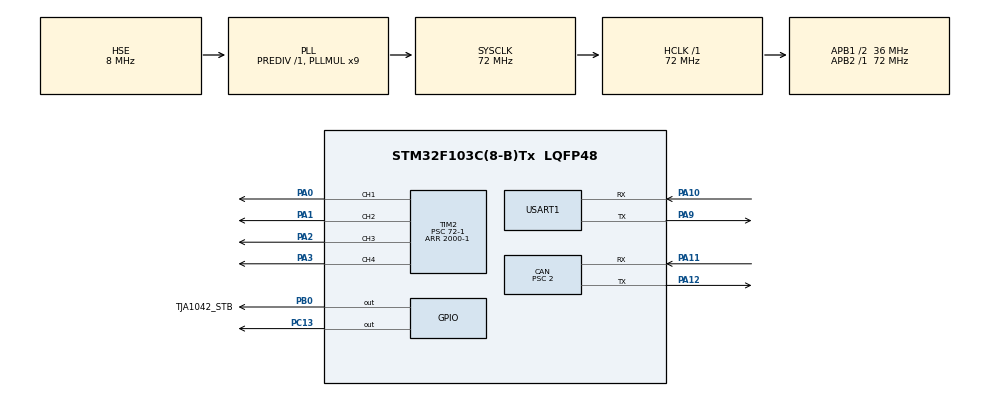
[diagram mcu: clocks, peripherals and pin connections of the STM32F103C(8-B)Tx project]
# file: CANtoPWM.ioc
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CAN.ABOM=ENABLE
CAN.BS1=CAN_BS1_11TQ
CAN.BS2=CAN_BS2_6TQ
CAN.CalculateBaudRate=1000000
CAN.CalculateTimeBit=1000
CAN.CalculateTimeQuantum=55.55555555555556
CAN.NART=ENABLE
CAN.Prescaler=2
Mcu.Family=STM32F1
Mcu.Name=STM32F103C(8-B)Tx
Mcu.Package=LQFP48
NVIC.PriorityGroup=NVIC_PRIORITYGROUP_4
NVIC.USB_LP_CAN1_RX0_IRQn=true\:0\:0\:false\:false\:true\:true\:true\:true
PA0-WKUP.Signal=S_TIM2_CH1_ETR
PA1.Signal=S_TIM2_CH2
PA10.Mode=Asynchronous
PA10.Signal=USART1_RX
PA11.Mode=CAN_Activate
PA11.Signal=CAN_RX
PA12.Mode=CAN_Activate
PA12.Signal=CAN_TX
PA2.Signal=S_TIM2_CH3
PA3.Signal=S_TIM2_CH4
PA9.Mode=Asynchronous
PA9.Signal=USART1_TX
PB0.GPIO_Label=TJA1042_STB
PB0.Signal=GPIO_Output
PC13-TAMPER-RTC.Signal=GPIO_Output
PD0-OSC_IN.Mode=HSE-External-Oscillator
PD0-OSC_IN.Signal=RCC_OSC_IN
PD1-OSC_OUT.Mode=HSE-External-Oscillator
PD1-OSC_OUT.Signal=RCC_OSC_OUT
ProjectManager.HeapSize=0x200
ProjectManager.StackSize=0x1000
ProjectManager.TargetToolchain=MDK-ARM V5.32
RCC.AHBFreq_Value=72000000
RCC.APB1CLKDivider=RCC_HCLK_DIV2
RCC.APB1Freq_Value=36000000
RCC.APB1TimFreq_Value=72000000
RCC.APB2Freq_Value=72000000
RCC.APB2TimFreq_Value=72000000
RCC.HCLKFreq_Value=72000000
RCC.PLLMUL=RCC_PLL_MUL9
RCC.PLLSourceVirtual=RCC_PLLSOURCE_HSE
RCC.SYSCLKFreq_VALUE=72000000
RCC.SYSCLKSource=RCC_SYSCLKSOURCE_PLLCLK
RCC.USBFreq_Value=72000000
SH.S_TIM2_CH1_ETR.0=TIM2_CH1,PWM Generation1 CH1
SH.S_TIM2_CH2.0=TIM2_CH2,PWM Generation2 CH2
SH.S_TIM2_CH3.0=TIM2_CH3,PWM Generation3 CH3
SH.S_TIM2_CH4.0=TIM2_CH4,PWM Generation4 CH4
TIM2.Channel-PWM\ Generation1\ CH1=TIM_CHANNEL_1
TIM2.Channel-PWM\ Generation2\ CH2=TIM_CHANNEL_2
TIM2.Channel-PWM\ Generation3\ CH3=TIM_CHANNEL_3
TIM2.Channel-PWM\ Generation4\ CH4=TIM_CHANNEL_4
TIM2.Period=2000-1
TIM2.Prescaler=72-1
TIM2.Pulse-PWM\ Generation1\ CH1=1000-1
TIM2.Pulse-PWM\ Generation2\ CH2=1000-1
TIM2.Pulse-PWM\ Generation3\ CH3=1000-1
TIM2.Pulse-PWM\ Generation4\ CH4=1000-1
USART1.VirtualMode=VM_ASYNC
VP_SYS_VS_ND.Mode=No_Debug
VP_TIM2_VS_ClockSourceINT.Mode=Internal
board=custom

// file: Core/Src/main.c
/* USER CODE BEGIN Header */
/**
  ******************************************************************************
  * @file           : main.c
  * @brief          : Main program body
  ******************************************************************************
  * @attention
  *
  * Copyright (c) 2025 STMicroelectronics.
  * All rights reserved.
  *
  * This software is licensed under terms that can be found in the LICENSE file
  * in the root directory of this software component.
  * If no LICENSE file comes with this software, it is provided AS-IS.
  *
  ******************************************************************************
  */
#pragma anon_unions
/* USER CODE END Header */
#include "main.h"
#include "can.h"
#include "tim.h"
#include "usart.h"
#include "gpio.h"

/* USER CODE BEGIN Includes */
#include "string.h"
#include "canard.h"
#include "canard_internals.h"
#include "uavcan/equipment/actuator/ArrayCommand.h"
#include "uavcan/equipment/esc/RawCommand.h"
#include "uavcan/protocol/NodeStatus.h"
#include "uavcan/protocol/GetNodeInfo.h"
#include "uavcan/protocol/param/GetSet.h"
#include "uavcan/protocol/param/ExecuteOpcode.h"
#include "uavcan/protocol/RestartNode.h"
#include "uavcan/protocol/GetTransportStats.h"
#include "uavcan/protocol/file/BeginFirmwareUpdate.h"
#include <stdio.h>
#include "canard_dynamic_node_id_client.h"
#include "app_logic.h"
/* USER CODE END Includes */

/* USER CODE BEGIN PTD */
// 函数声明
bool shouldAcceptTransfer(const CanardInstance* ins,
                         uint64_t* out_data_type_signature,
                         uint16_t data_type_id,
                         CanardTransferType transfer_type,
                         uint8_t source_node_id);
void onTransferReception(CanardInstance* ins, CanardRxTransfer* transfer);
void processCanTxQueue(void);
int16_t sendActuatorCommand(CanardInstance* ins, uint8_t actuator_id, float value);
int16_t sendNodeStatusRequest(CanardInstance* ins, uint8_t target_node_id);
void publishNodeStatus(void);
/* USER CODE END PTD */

/* USER CODE BEGIN PM */

#define BOOTLOADER_FLAG_MAGIC 0xB007B007u
#define BOOTLOADER_FLAG_REG   (BKP->DR1)
/* USER CODE END PM */

/* USER CODE BEGIN PV */
// CANARD
CanardInstance canard_ins;
uint8_t canard_memory_pool[4096]; //内存池

// Dynamic Node ID client
CanardDynIDClient dynid_client;
uint8_t node_unique_id[16];

//传输ID计数器
static uint8_t actuator_cmd_transfer_id = 0;

//接受到的数据储存
static uavcan_equipment_actuator_ArrayCommand rx_actuator_cmd;

// 参数存储 (演示用)
float tim2_ticks_per_us = 1.0f; // updated at init to scale 1-2ms to CCR
static bool dyn_allocation_active = false;
static uint32_t dyn_last_req_ms = 0;
static bool dyn_followup_pending = false; // schedule immediate follow-up chunk after allocator echo
static uint32_t dyn_followup_deadline_ms = 0;
static bool bootloader_update_requested = false;
static volatile uint32_t can_rx_irq_count = 0;
/* USER CODE END PV */

void SystemClock_Config(void);
/* USER CODE BEGIN PFP */
void read_unique_id(uint8_t* out_uid);
static void update_tim2_tick_scale(void);
static void start_dynamic_allocation(void);
static void set_bootloader_flag(void);
static void handleBeginFirmwareUpdate(CanardInstance* ins, CanardRxTransfer* transfer);
static void boot_led_flash(void);
static bool wait_mailbox_result(uint32_t mailbox, uint32_t timeout_ms, bool* out_txok, uint32_t* out_tsr_snapshot);
/* USER CODE END PFP */

/* USER CODE BEGIN 0 */
#ifdef __GNUC__
  /* With GCC/RAISONANCE, small printf (option LD Linker->Libraries->Small printf
     set to 'Yes') calls __io_putchar() */
  #define PUTCHAR_PROTOTYPE int __io_putchar(int ch)
#else
  #define PUTCHAR_PROTOTYPE int fputc(int ch, FILE *f)
#endif /* __GNUC__ */

/**
  * @brief  Retargets the C library printf function to the USART.
  * @param  None
  * @retval None
  */
PUTCHAR_PROTOTYPE
{
  /* Place your implementation of fputc here */
  /* e.g. write a character to the USART1 and Loop until the end of transmission */
  HAL_UART_Transmit(&huart1, (uint8_t *)&ch, 1, 0xFFFF);

  return ch;
}

void read_unique_id(uint8_t* out_uid)
{
    // STM32F1xx series has a 96-bit unique ID starting at this address
    const uint32_t* uid_reg = (const uint32_t*)0x1FFFF7E8;
    uint8_t uid_buf[12];
    for (uint8_t i = 0; i < 3; i++)
    {
        uint32_t word = uid_reg[i];
        uid_buf[i*4 + 0] = (word >> 0) & 0xFF;
        uid_buf[i*4 + 1] = (word >> 8) & 0xFF;
        uid_buf[i*4 + 2] = (word >> 16) & 0xFF;
        uid_buf[i*4 + 3] = (word >> 24) & 0xFF;
    }
    // The unique ID for allocation is 16 bytes, we pad the 12-byte MCU ID with zeros
    memset(out_uid, 0, 16);
    memcpy(out_uid, uid_buf, 12);
}

static void set_bootloader_flag(void)
{
    __HAL_RCC_BKP_CLK_ENABLE();
    HAL_PWR_EnableBkUpAccess();
    BOOTLOADER_FLAG_REG = BOOTLOADER_FLAG_MAGIC;
    HAL_PWR_DisableBkUpAccess();
}

static void handleBeginFirmwareUpdate(CanardInstance* ins, CanardRxTransfer* transfer)
{
    static uavcan_protocol_file_BeginFirmwareUpdateRequest req;
    static uint8_t path_buf[UAVCAN_PROTOCOL_FILE_PATH_PATH_MAX_LENGTH];
    uint8_t* dyn_buf = path_buf;
    memset(&req, 0, sizeof(req));
    int32_t dec = uavcan_protocol_file_BeginFirmwareUpdateRequest_decode(
        transfer, transfer->payload_len, &req, &dyn_buf);

    uavcan_protocol_file_BeginFirmwareUpdateResponse resp;
    memset(&resp, 0, sizeof(resp));
    resp.error = UAVCAN_PROTOCOL_FILE_BEGINFIRMWAREUPDATE_RESPONSE_ERROR_OK;

    static uint8_t buffer[UAVCAN_PROTOCOL_FILE_BEGINFIRMWAREUPDATE_RESPONSE_MAX_SIZE];
    uint32_t len = uavcan_protocol_file_BeginFirmwareUpdateResponse_encode(&resp, buffer);
    (void)canardRequestOrRespond(ins, transfer->source_node_id,
                                 UAVCAN_PROTOCOL_FILE_BEGINFIRMWAREUPDATE_SIGNATURE,
                                 UAVCAN_PROTOCOL_FILE_BEGINFIRMWAREUPDATE_ID,
                                 &transfer->transfer_id,
                                 transfer->priority,
                                 CanardResponse,
                                 buffer,
                                 len);

    if (dec >= 0) {
        bootloader_update_requested = true;
        restart_pending = true;
        restart_request_time_ms = HAL_GetTick();
        printf("[FWU] BeginFirmwareUpdate accepted\r\n");
    } else {
        printf("[FWU] Decode fail: %ld\r\n", (long)dec);
    }
}

// Fast LED blink on boot to indicate firmware ready state
static void boot_led_flash(void)
{
    for (int i = 0; i < 6; i++) {
        HAL_GPIO_TogglePin(GPIOC, GPIO_PIN_13);
        HAL_Delay(50);
    }
}

// --- 辅助工具：虚拟服务器实例 ---
// 用于生成正确的 CAN 帧（自动处理多帧、CRC、尾字节）
void inject_rx_frame_from_server(CanardInstance* server_ins, uint64_t timestamp_usec) {
    for (const CanardCANFrame* tx_frame = canardPeekTxQueue(server_ins);
         tx_frame != NULL;
         tx_frame = canardPeekTxQueue(server_ins))
    {
        // 将服务器发出的帧，注入到主实例的接收端
        canardHandleRxFrame(&canard_ins, tx_frame, timestamp_usec);
        // 从服务器队列移除
        canardPopTxQueue(server_ins);
    }
}

int main(void)
{

  /* USER CODE BEGIN 1 */
  uint16_t led_cnt = 0;

  /* USER CODE END 1 */

  /* MCU Configuration--------------------------------------------------------*/

  /* Reset of all peripherals, Initializes the Flash interface and the Systick. */
  HAL_Init();

  /* Configure the system clock */
  SystemClock_Config();

  /* Initialize all configured peripherals */
  MX_GPIO_Init();
  MX_CAN_Init();
  MX_TIM2_Init();
  MX_USART1_UART_Init();
  /* USER CODE BEGIN 2 */
  // 读取MCU唯一ID
  read_unique_id(node_unique_id);
  printf("UID: ");
  for(int i=0; i<16; i++) printf("%02X ", node_unique_id[i]);
  printf("\r\n");

  // 加载已保存的参数（若校验通过），否则保持默认值
  load_params_from_flash();

  // 启动TIM2的4个PWM通道
  HAL_TIM_PWM_Start(&htim2, TIM_CHANNEL_1);
  HAL_TIM_PWM_Start(&htim2, TIM_CHANNEL_2);
  HAL_TIM_PWM_Start(&htim2, TIM_CHANNEL_3);
  HAL_TIM_PWM_Start(&htim2, TIM_CHANNEL_4);

  // 根据当前 PCLK1/预分频计算 TIM2 每微秒的计数，确保无论周期如何调整都能输出 1-2ms 脉宽
  update_tim2_tick_scale();

    // 开机快速闪烁，提示固件已进入主程序
    boot_led_flash();

  // 初始化libcanard
  canardInit(&canard_ins,
             canard_memory_pool,
             sizeof(canard_memory_pool),
             onTransferReception,
             shouldAcceptTransfer,
             NULL);

  canardDynIDClientInit(&dynid_client, node_unique_id);
  uint8_t initial_node_id = (uint8_t)(params[0].value + 0.5f);
  if (initial_node_id == 0) {
      start_dynamic_allocation();
  } else {
      canardSetLocalNodeID(&canard_ins, initial_node_id);
  }

  // 初始化CAN过滤器（放宽，接收所有包）
  CAN_FilterTypeDef filter;
  filter.FilterBank = 0;
  filter.FilterMode = CAN_FILTERMODE_IDMASK;
  filter.FilterScale = CAN_FILTERSCALE_32BIT;
  filter.FilterIdHigh = 0x0000;
  filter.FilterIdLow = 0x0000;
  filter.FilterMaskIdHigh = 0x0000;
  filter.FilterMaskIdLow = 0x0000;
  filter.FilterFIFOAssignment = CAN_RX_FIFO0;
  filter.FilterActivation = ENABLE;
  filter.SlaveStartFilterBank = 14;
  HAL_CAN_ConfigFilter(&hcan, &filter);

  // 启动CAN
  HAL_CAN_Start(&hcan);
    HAL_CAN_ActivateNotification(&hcan,
                                                             CAN_IT_RX_FIFO0_MSG_PENDING |
                                                             CAN_IT_ERROR_WARNING |
                                                             CAN_IT_ERROR_PASSIVE |
                                                             CAN_IT_BUSOFF |
                                                             CAN_IT_LAST_ERROR_CODE);

  /* USER CODE END 2 */

  /* Infinite loop */
  /* USER CODE BEGIN WHILE */
  while (1)
  {
    // 固定ID模式：直接处理发送队列
    processCanTxQueue();

    // 如果有待应用的节点ID，移到主循环中执行，避免在服务传输过程中切换导致分片被拒绝
    if (pending_node_id >= 0 && pending_node_id <= CANARD_MAX_NODE_ID) {
        uint8_t new_id = (uint8_t)pending_node_id;
        if (new_id == 0) {
            start_dynamic_allocation();
        } else {
            dyn_allocation_active = false;
            canardSetLocalNodeID(&canard_ins, new_id);
        }
        params[0].value = (float)new_id;
        pending_node_id = -1;
        printf("[Param] Applied Node ID = %d\r\n", new_id);
    }

    if (dyn_allocation_active) {
        uint8_t allocated = canardDynIDClientGetNodeID(&dynid_client);
        if (allocated != 0 && allocated <= CANARD_MAX_NODE_ID) {
            canardSetLocalNodeID(&canard_ins, allocated);
            dyn_allocation_active = false;
            params[0].value = (float)allocated;
            printf("[DynID] Allocated Node ID = %d\r\n", allocated);
            dyn_followup_pending = false;
        } else if (dyn_followup_pending && HAL_GetTick() >= dyn_followup_deadline_ms && dynid_client.uid_prefix_len < sizeof(node_unique_id)) {
            (void)canardDynIDClientStart(&dynid_client, &canard_ins, 0);
            dyn_last_req_ms = HAL_GetTick();
            dyn_followup_pending = false;
        } else if (HAL_GetTick() - dyn_last_req_ms >= 1000 && dynid_client.uid_prefix_len < sizeof(node_unique_id)) {
            (void)canardDynIDClientStart(&dynid_client, &canard_ins, 0);
            dyn_last_req_ms = HAL_GetTick();
        }
    }

    // 发送心跳包 (1Hz)
    static uint32_t last_node_status_time = 0;
    if (HAL_GetTick() - last_node_status_time >= 1000)
    {
        publishNodeStatus();
        last_node_status_time = HAL_GetTick();
    }

    // 清理过期的传输
    uint64_t timestamp = HAL_GetTick() * 1000; // 转换为微秒
    canardCleanupStaleTransfers(&canard_ins, timestamp);

    // 每秒打印一次 RX 中断计数，快速判断是否有任何合法 CAN 帧进入 FIFO
    static uint32_t rx_mon_last_ms = 0;
    static uint32_t rx_mon_last_cnt = 0;
    if (HAL_GetTick() - rx_mon_last_ms >= 1000U) {
        uint32_t now_cnt = can_rx_irq_count;
        uint32_t delta = now_cnt - rx_mon_last_cnt;
        printf("[CAN RX] irq/s=%lu total=%lu\r\n",
               (unsigned long)delta,
               (unsigned long)now_cnt);
        rx_mon_last_cnt = now_cnt;
        rx_mon_last_ms = HAL_GetTick();
    }

    // 如收到 RestartNode 请求，等回复排队后再复位，避免截断响应
    if (restart_pending) {
        bool tx_empty = (canardPeekTxQueue(&canard_ins) == NULL);
        bool waited = (HAL_GetTick() - restart_request_time_ms) > 200;
        if (tx_empty || waited) {
            if (bootloader_update_requested) {
                set_bootloader_flag();
            }
            NVIC_SystemReset();
        }
    }

    HAL_Delay(1); // 短暂延迟

    // 简单心跳 LED 闪烁
    if (led_cnt >= 1000) {
        HAL_GPIO_TogglePin(GPIOC, GPIO_PIN_13);
        led_cnt = 0;
    } else {
        led_cnt++;
    }

    /* USER CODE END WHILE */

  }
}

void SystemClock_Config(void)
{
    RCC_OscInitTypeDef RCC_OscInitStruct = {0};
    RCC_ClkInitTypeDef RCC_ClkInitStruct = {0};

    RCC_OscInitStruct.OscillatorType = RCC_OSCILLATORTYPE_HSE;
    RCC_OscInitStruct.HSEState = RCC_HSE_ON;
    RCC_OscInitStruct.HSEPredivValue = RCC_HSE_PREDIV_DIV1;
    RCC_OscInitStruct.HSIState = RCC_HSI_ON;
    RCC_OscInitStruct.PLL.PLLState = RCC_PLL_ON;
    RCC_OscInitStruct.PLL.PLLSource = RCC_PLLSOURCE_HSE;
    RCC_OscInitStruct.PLL.PLLMUL = RCC_PLL_MUL9;
    if (HAL_RCC_OscConfig(&RCC_OscInitStruct) != HAL_OK)
    {
        Error_Handler();
    }

    RCC_ClkInitStruct.ClockType = RCC_CLOCKTYPE_HCLK|RCC_CLOCKTYPE_SYSCLK
                                                            |RCC_CLOCKTYPE_PCLK1|RCC_CLOCKTYPE_PCLK2;
    RCC_ClkInitStruct.SYSCLKSource = RCC_SYSCLKSOURCE_PLLCLK;
    RCC_ClkInitStruct.AHBCLKDivider = RCC_SYSCLK_DIV1;
    RCC_ClkInitStruct.APB1CLKDivider = RCC_HCLK_DIV2;
    RCC_ClkInitStruct.APB2CLKDivider = RCC_HCLK_DIV1;

    if (HAL_RCC_ClockConfig(&RCC_ClkInitStruct, FLASH_LATENCY_2) != HAL_OK)
    {
        Error_Handler();
    }
}

// 决定是否接受某个传输的回调函数
bool shouldAcceptTransfer(const CanardInstance* ins,
                         uint64_t* out_data_type_signature,
                         uint16_t data_type_id,
                         CanardTransferType transfer_type,
                         uint8_t source_node_id) {

    // Debug打印关闭以减少中断内耗时，避免丢帧

    (void)ins;
		(void)source_node_id;

		// 在获得节点ID之前，只接受动态节点ID分配消息
    if (canardGetLocalNodeID(&canard_ins) == CANARD_BROADCAST_NODE_ID)
    {
        if (data_type_id == UAVCAN_PROTOCOL_DYNAMIC_NODE_ID_ALLOCATION_ID &&
            transfer_type == CanardTransferTypeBroadcast)
        {
            *out_data_type_signature = UAVCAN_PROTOCOL_DYNAMIC_NODE_ID_ALLOCATION_SIGNATURE;
            return true;
        }

        // 允许在未分配 ID 时也响应 GetNodeInfo，便于上位机显示节点名
        if (data_type_id == UAVCAN_PROTOCOL_GETNODEINFO_ID &&
            transfer_type == CanardTransferTypeRequest)
        {
            *out_data_type_signature = UAVCAN_PROTOCOL_GETNODEINFO_SIGNATURE;
            return true;
        }
        return false;
    }

    // 根据数据类型ID决定是否接受
    if (data_type_id == UAVCAN_EQUIPMENT_ACTUATOR_ARRAYCOMMAND_ID) {
        *out_data_type_signature = UAVCAN_EQUIPMENT_ACTUATOR_ARRAYCOMMAND_SIGNATURE;
        return true;
    }

    // ESC RawCommand (Message ID=1030)
    if (data_type_id == UAVCAN_EQUIPMENT_ESC_RAWCOMMAND_ID) {
        *out_data_type_signature = UAVCAN_EQUIPMENT_ESC_RAWCOMMAND_SIGNATURE;
        return true;
    }

    // GetTransportStats Request (Service ID=4)
    if (data_type_id == UAVCAN_PROTOCOL_GETTRANSPORTSTATS_ID && transfer_type == CanardTransferTypeRequest) {
        *out_data_type_signature = UAVCAN_PROTOCOL_GETTRANSPORTSTATS_SIGNATURE;
        return true;
    }

    // RestartNode Request (Service ID=5)
    if (data_type_id == UAVCAN_PROTOCOL_RESTARTNODE_ID && transfer_type == CanardTransferTypeRequest) {
        *out_data_type_signature = UAVCAN_PROTOCOL_RESTARTNODE_SIGNATURE;
        return true;
    }

    // BeginFirmwareUpdate Request (Service ID=40)
    if (data_type_id == UAVCAN_PROTOCOL_FILE_BEGINFIRMWAREUPDATE_ID && transfer_type == CanardTransferTypeRequest) {
        *out_data_type_signature = UAVCAN_PROTOCOL_FILE_BEGINFIRMWAREUPDATE_SIGNATURE;
        return true;
    }

    // GetNodeInfo Request (Service ID=1)
    if (data_type_id == UAVCAN_PROTOCOL_GETNODEINFO_ID && transfer_type == CanardTransferTypeRequest) {
        printf("Accept GetNodeInfo Req\r\n"); // Debug
        *out_data_type_signature = UAVCAN_PROTOCOL_GETNODEINFO_SIGNATURE;
        return true;
    }

    // Dynamic ID Allocation (Message ID=1)
    // 注意：Dynamic Allocation ID 和 GetNodeInfo ID 都是 1，必须通过 transfer_type 区分
    if (data_type_id == UAVCAN_PROTOCOL_DYNAMIC_NODE_ID_ALLOCATION_ID && transfer_type == CanardTransferTypeBroadcast) {
        *out_data_type_signature = UAVCAN_PROTOCOL_DYNAMIC_NODE_ID_ALLOCATION_SIGNATURE;
        return true;
    }

    // Param GetSet
    if (data_type_id == UAVCAN_PROTOCOL_PARAM_GETSET_ID && transfer_type == CanardTransferTypeRequest) {
        // printf("Accept Param Req\r\n"); // Debug
        *out_data_type_signature = UAVCAN_PROTOCOL_PARAM_GETSET_SIGNATURE;
        return true;
    }

    // Param ExecuteOpcode
    if (data_type_id == UAVCAN_PROTOCOL_PARAM_EXECUTEOPCODE_ID && transfer_type == CanardTransferTypeRequest) {
        *out_data_type_signature = UAVCAN_PROTOCOL_PARAM_EXECUTEOPCODE_SIGNATURE;
        return true;
    }

    return false;
}

// 接收到完整传输后的回调函数
void onTransferReception(CanardInstance* ins, CanardRxTransfer* transfer) {
    // 每个完整传输计数一次
    stats_inc_transfer_rx();
    // 动态ID分配 (Message ID=1, Broadcast)
    if (transfer->data_type_id == UAVCAN_PROTOCOL_DYNAMIC_NODE_ID_ALLOCATION_ID &&
        transfer->transfer_type == CanardTransferTypeBroadcast)
    {
        canardDynIDClientHandleAllocationResponse(&dynid_client, transfer);

        // If allocator echoed part of our UID but node_id is still 0, schedule quick follow-up chunk
        if (dyn_allocation_active && canardDynIDClientGetNodeID(&dynid_client) == 0 && dynid_client.uid_prefix_len < sizeof(node_unique_id)) {
            dyn_followup_pending = true;
            dyn_followup_deadline_ms = HAL_GetTick() + 10; // 10ms follow-up per spec window (<=400ms)
        } else {
            dyn_followup_pending = false;
        }
    }
    // GetNodeInfo Request (Service ID=1, Request)
    else if (transfer->data_type_id == UAVCAN_PROTOCOL_GETNODEINFO_ID &&
             transfer->transfer_type == CanardTransferTypeRequest) {
        handleGetNodeInfo(ins, transfer);
    }
    // Param GetSet Request
    else if (transfer->data_type_id == UAVCAN_PROTOCOL_PARAM_GETSET_ID &&
             transfer->transfer_type == CanardTransferTypeRequest) {
        handleParamGetSet(ins, transfer);
    }
    // Param ExecuteOpcode Request
    else if (transfer->data_type_id == UAVCAN_PROTOCOL_PARAM_EXECUTEOPCODE_ID &&
             transfer->transfer_type == CanardTransferTypeRequest) {
        handleParamExecuteOpcode(ins, transfer);
    }
    // GetTransportStats Request (Service ID=4, Request)
    else if (transfer->data_type_id == UAVCAN_PROTOCOL_GETTRANSPORTSTATS_ID &&
             transfer->transfer_type == CanardTransferTypeRequest) {
        handleGetTransportStats(ins, transfer);
    }
    // RestartNode Request (Service ID=5, Request)
    else if (transfer->data_type_id == UAVCAN_PROTOCOL_RESTARTNODE_ID &&
             transfer->transfer_type == CanardTransferTypeRequest) {
        handleRestartNode(ins, transfer);
    }
    else if (transfer->data_type_id == UAVCAN_PROTOCOL_FILE_BEGINFIRMWAREUPDATE_ID &&
             transfer->transfer_type == CanardTransferTypeRequest) {
        handleBeginFirmwareUpdate(ins, transfer);
    }
    // 检查数据类型
    else if (transfer->data_type_id == UAVCAN_EQUIPMENT_ACTUATOR_ARRAYCOMMAND_ID) {
        // 解码接收到的数据
        // 注意：这里需要提供一个缓冲区给动态数组使用
        // libcanard 要求通过 dyn_arr_buf 参数传递缓冲区指针的地址
        static uavcan_equipment_actuator_Command cmd_buffer[15];
        uint8_t* p_dynamic_array_buffer = (uint8_t*)cmd_buffer;

        // 传入 &p_dynamic_array_buffer，这样解码函数内部会将 dest->commands.data 指向 cmd_buffer
        int32_t result = uavcan_equipment_actuator_ArrayCommand_decode(transfer, transfer->payload_len, &rx_actuator_cmd, &p_dynamic_array_buffer);

        if (result >= 0) {
            // 解码成功，处理命令
            processActuatorCommands(&rx_actuator_cmd);
        } else {
            printf("Decode fail: %d\r\n", result);
        }
    }
    else if (transfer->data_type_id == UAVCAN_EQUIPMENT_ESC_RAWCOMMAND_ID) {
        // ESC RawCommand: int14 array, normalize to -1..1 then映射 PWM
        static int16_t raw_cmd_buf[UAVCAN_EQUIPMENT_ESC_RAWCOMMAND_CMD_MAX_LENGTH];
        uavcan_equipment_esc_RawCommand raw;
        raw.cmd.data = raw_cmd_buf;
        uint8_t* dyn_buf = (uint8_t*)raw_cmd_buf;
        int32_t result = uavcan_equipment_esc_RawCommand_decode(transfer, transfer->payload_len, &raw, &dyn_buf);

        if (result >= 0) {
            processEscRawCommand(&raw, transfer->source_node_id);
        } else {
            printf("ESC RawCommand decode fail: %d\r\n", result);
        }
    }

    // 释放传输负载内存
    canardReleaseRxTransferPayload(ins, transfer);
}

// 根据当前 TIM2 预分频和时钟，更新每微秒的计数刻度
static void update_tim2_tick_scale(void) {
    uint32_t pclk1 = HAL_RCC_GetPCLK1Freq();
    uint32_t tim_clk = pclk1;
    if ((RCC->CFGR & RCC_CFGR_PPRE1) != RCC_CFGR_PPRE1_DIV1) {
        tim_clk *= 2U; // APB1 分频不为1时，定时器时钟翻倍
    }
    tim2_ticks_per_us = (float)tim_clk / (float)(htim2.Init.Prescaler + 1U) / 1000000.0f;
}

static void start_dynamic_allocation(void) {
    dyn_allocation_active = true;
    dyn_followup_pending = false;
    dyn_last_req_ms = HAL_GetTick();
    canardDynIDClientInit(&dynid_client, node_unique_id);
    int req_res = canardDynIDClientStart(&dynid_client, &canard_ins, 0);
    if (req_res < 0) {
        printf("[DynID] start req err=%d\r\n", req_res);
    }
}

static bool wait_mailbox_result(uint32_t mailbox, uint32_t timeout_ms, bool* out_txok, uint32_t* out_tsr_snapshot)
{
    uint32_t rqcp_mask = 0U;
    uint32_t txok_mask = 0U;
    uint32_t abrq_mask = 0U;

    switch (mailbox) {
        case CAN_TX_MAILBOX0:
            rqcp_mask = CAN_TSR_RQCP0;
            txok_mask = CAN_TSR_TXOK0;
            abrq_mask = CAN_TSR_ABRQ0;
            break;
        case CAN_TX_MAILBOX1:
            rqcp_mask = CAN_TSR_RQCP1;
            txok_mask = CAN_TSR_TXOK1;
            abrq_mask = CAN_TSR_ABRQ1;
            break;
        case CAN_TX_MAILBOX2:
            rqcp_mask = CAN_TSR_RQCP2;
            txok_mask = CAN_TSR_TXOK2;
            abrq_mask = CAN_TSR_ABRQ2;
            break;
        default:
            return false;
    }

    uint32_t t0 = HAL_GetTick();
    while ((hcan.Instance->TSR & rqcp_mask) == 0U) {
        if ((HAL_GetTick() - t0) >= timeout_ms) {
            hcan.Instance->TSR |= abrq_mask;
            if (out_tsr_snapshot != NULL) {
                *out_tsr_snapshot = hcan.Instance->TSR;
            }
            return false;
        }
    }

    uint32_t tsr = hcan.Instance->TSR;
    if (out_tsr_snapshot != NULL) {
        *out_tsr_snapshot = tsr;
    }
    if (out_txok != NULL) {
        *out_txok = ((tsr & txok_mask) != 0U);
    }

    // Clear request complete flag for this mailbox so next wait is valid.
    hcan.Instance->TSR |= rqcp_mask;
    return true;
}

// 处理发送队列
void processCanTxQueue(void) {

    const CanardCANFrame* tx_frame = canardPeekTxQueue(&canard_ins);

    while (tx_frame != NULL) {
        CAN_TxHeaderTypeDef tx_header = {
            .ExtId = tx_frame->id & CANARD_CAN_EXT_ID_MASK,
            .IDE = CAN_ID_EXT,
            .RTR = CAN_RTR_DATA,
            .DLC = tx_frame->data_len
        };

        uint32_t mailbox;

        // 等待有空闲邮箱；若短暂等待后仍满，微延时让仲裁/邮箱释放，再尝试几次
        uint32_t wait_attempts = 0;
        while (HAL_CAN_GetTxMailboxesFreeLevel(&hcan) == 0 && wait_attempts < 5) {
            HAL_Delay(1); // 1ms 让出 CPU，避免忙等
            wait_attempts++;
        }
        if (HAL_CAN_GetTxMailboxesFreeLevel(&hcan) == 0) {
            // 邮箱仍满，留到下一次循环继续发送
            return;
        }

        if (HAL_CAN_AddTxMessage(&hcan, &tx_header, tx_frame->data, &mailbox) == HAL_OK) {
            bool txok = false;
            uint32_t tsr = 0U;
            bool complete = wait_mailbox_result(mailbox, 3U, &txok, &tsr);

            if (complete && txok) {
                // 仅在邮箱确认发送成功后再出队，避免“队列空但总线无ACK”的假象
                canardPopTxQueue(&canard_ins);
                stats_inc_frame_tx();
                stats_inc_transfer_tx();
            } else {
                uint32_t err = HAL_CAN_GetError(&hcan);
                printf("CAN Tx NotAck/Fail. MB:%lu Complete:%d TxOK:%d Err:0x%lX ESR:0x%08lX TSR:0x%08lX\r\n",
                       (unsigned long)mailbox,
                       complete ? 1 : 0,
                       txok ? 1 : 0,
                       (unsigned long)err,
                       (unsigned long)hcan.Instance->ESR,
                       (unsigned long)tsr);
                stats_inc_transfer_error();
                stats_inc_can_error();
                return;
            }
        } else {
            // 发送失败，打印错误原因
            uint32_t err = HAL_CAN_GetError(&hcan);
            uint32_t free_level = HAL_CAN_GetTxMailboxesFreeLevel(&hcan);
            printf("CAN Tx Fail. Err: 0x%X, FreeMB: %d, ESR: 0x%X\r\n", err, free_level, hcan.Instance->ESR);
            stats_inc_transfer_error();
            stats_inc_can_error();
            // 如果失败（含邮箱满/仲裁等），退出等待下一次主循环再尝试
            break;
        }

        tx_frame = canardPeekTxQueue(&canard_ins);
        if (tx_frame == NULL) {
            printf("[CAN TX] TX queue empty\r\n");
        }
    }
}

// 发送执行器命令的广播函数
int16_t sendActuatorCommand(CanardInstance* ins, uint8_t actuator_id, float value) {
    // 构建命令结构
    uavcan_equipment_actuator_Command cmd;
    cmd.actuator_id = actuator_id;
    cmd.command_type = UAVCAN_EQUIPMENT_ACTUATOR_COMMAND_COMMAND_TYPE_UNITLESS;
    cmd.command_value = value;

    // 构建数组命令结构
    uavcan_equipment_actuator_ArrayCommand array_cmd;
    array_cmd.commands.len = 1;
    array_cmd.commands.data = &cmd;

    // 编码数据到buffer
    uint8_t buffer[UAVCAN_EQUIPMENT_ACTUATOR_ARRAYCOMMAND_MAX_SIZE];
    uint32_t len = uavcan_equipment_actuator_ArrayCommand_encode(&array_cmd, buffer);

    // 发送广播
    return canardBroadcast(ins,
                           UAVCAN_EQUIPMENT_ACTUATOR_ARRAYCOMMAND_SIGNATURE,
                           UAVCAN_EQUIPMENT_ACTUATOR_ARRAYCOMMAND_ID,
                           &actuator_cmd_transfer_id,
                           CANARD_TRANSFER_PRIORITY_MEDIUM,
                           buffer,
                           len);
}

// 发送服务请求的示例
int16_t sendNodeStatusRequest(CanardInstance* ins, uint8_t target_node_id) {
    CanardTxTransfer transfer;
    canardInitTxTransfer(&transfer);

    static uint8_t node_status_transfer_id = 0;

    // 设置传输参数
    transfer.transfer_type = CanardTransferTypeRequest;
    transfer.data_type_signature = UAVCAN_PROTOCOL_GETNODEINFO_SIGNATURE;
    transfer.data_type_id = UAVCAN_PROTOCOL_GETNODEINFO_ID;
    transfer.inout_transfer_id = &node_status_transfer_id;
    transfer.priority = CANARD_TRANSFER_PRIORITY_MEDIUM;
    transfer.payload = NULL; // 空负载
    transfer.payload_len = 0;

    // 发送请求
    return canardRequestOrRespondObj(ins, target_node_id, &transfer);
}

void publishNodeStatus(void)
{
    uavcan_protocol_NodeStatus msg;
    msg.uptime_sec = HAL_GetTick() / 1000;
    msg.health = UAVCAN_PROTOCOL_NODESTATUS_HEALTH_OK;
    msg.mode = UAVCAN_PROTOCOL_NODESTATUS_MODE_OPERATIONAL;
    msg.sub_mode = 0;
    msg.vendor_specific_status_code = 0;

    uint8_t buffer[UAVCAN_PROTOCOL_NODESTATUS_MAX_SIZE];
    uint32_t len = uavcan_protocol_NodeStatus_encode(&msg, buffer);

    static uint8_t transfer_id = 0;
    int16_t res = canardBroadcast(&canard_ins,
                    UAVCAN_PROTOCOL_NODESTATUS_SIGNATURE,
                    UAVCAN_PROTOCOL_NODESTATUS_ID,
                    &transfer_id,
                    CANARD_TRANSFER_PRIORITY_LOW,
                    buffer,
                    len);
    if (res < 0) {
        printf("[NodeStatus] Broadcast failed: %d\r\n", res);
    }
}

// CAN接收中断回调函数
void HAL_CAN_RxFifo0MsgPendingCallback(CAN_HandleTypeDef *hcan)
{
    CanardCANFrame rx_frame;
    CAN_RxHeaderTypeDef rx_header;
    uint8_t rx_data[8];

    if (HAL_CAN_GetRxMessage(hcan, CAN_RX_FIFO0, &rx_header, rx_data) == HAL_OK)
    {
        // 避免在中断中频繁打印，防止阻塞导致多帧丢失
        // printf("CAN RX ID: 0x%08X\r\n", rx_header.ExtId);

        can_rx_irq_count++;
        stats_inc_frame_rx();

        rx_frame.id = (rx_header.ExtId & CANARD_CAN_EXT_ID_MASK) | CANARD_CAN_FRAME_EFF;
        if (rx_header.RTR == CAN_RTR_REMOTE) {
            rx_frame.id |= CANARD_CAN_FRAME_RTR;
        }
        rx_frame.data_len = rx_header.DLC;
        memcpy(rx_frame.data, rx_data, rx_header.DLC);

        uint64_t timestamp_us = HAL_GetTick() * 1000;
        int16_t cr = canardHandleRxFrame(&canard_ins, &rx_frame, timestamp_us);
        if (cr < 0) {
            stats_inc_transfer_error();
        }
    }
}

void HAL_CAN_ErrorCallback(CAN_HandleTypeDef *hcan)
{
    uint32_t err = HAL_CAN_GetError(hcan);
    printf("[CAN ERR] HAL:0x%08lX ESR:0x%08lX TSR:0x%08lX\r\n",
           (unsigned long)err,
           (unsigned long)hcan->Instance->ESR,
           (unsigned long)hcan->Instance->TSR);
    stats_inc_can_error();
}

/* USER CODE END 4 */

void Error_Handler(void)
{
  __disable_irq();
  while (1)
  {
  }
}
